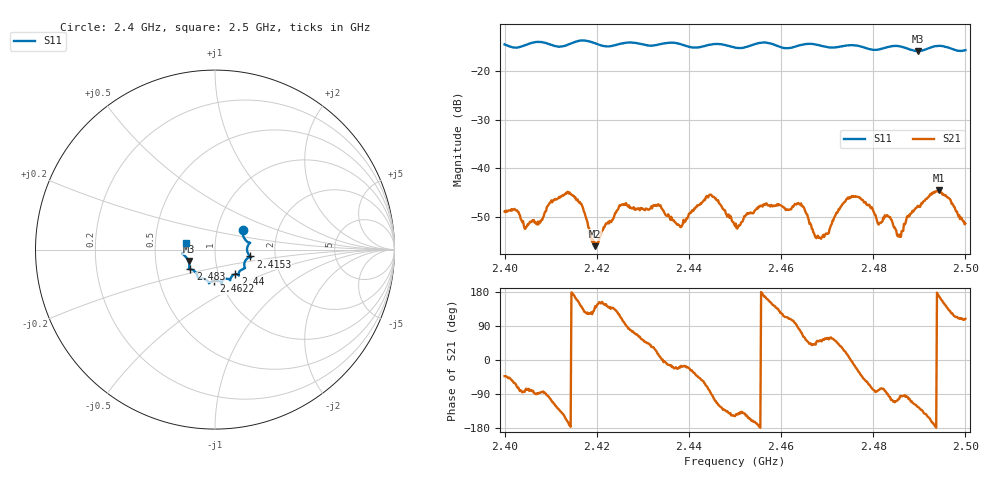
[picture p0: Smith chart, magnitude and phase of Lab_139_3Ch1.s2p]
# Hz S RI R 50
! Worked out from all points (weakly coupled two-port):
!   601 points, 2.4 GHz to 2.5 GHz, reference 50 ohm
!   highest |S21| = -44.61 dB at 2.4943 GHz (marker M1); lowest = -56.1 dB at 2.4197 GHz (marker M2)
!   lowest |S11| = -15.9 dB at 2.4897 GHz (marker M3), VSWR 1.38, Z = 36.9 - j4.81 ohm
!   |S11| at or under -10 dB: start of sweep to end of sweep
!   S12 and S22 are empty: the file has one direction only
!   S11 on the Smith chart (normalised r, x): 2.4 GHz: 1.33, +0.29; 2.4153 GHz: 1.48, -0.12; 2.44 GHz: 1.20, -0.34; 2.4622 GHz: 0.93, -0.33; 2.483 GHz: 0.74, -0.17; 2.5 GHz: 0.72, +0.06
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2.4e9  0.155 0.1065  0.00262 -0.00242  0 0  0 0
2.404667e9  0.1814 0.0427  0.000606 -0.00238  0 0  0 0
2.415333e9  0.1965 -0.0384  -0.00483 0.00136  0 0  0 0
2.416667e9  0.2021 -0.0423  -0.00334 0.00268  0 0  0 0
2.419667e9  0.1878 -0.0445  -0.00124 0.000964  0 0  0 0
2.425333e9  0.1655 -0.0976  -0.00144 0.00393  0 0  0 0
2.433333e9  0.1313 -0.1336  0.00408 0.00115  0 0  0 0
2.438e9  0.1288 -0.1403  0.00238 -0.000904  0 0  0 0
2.44e9  0.1139 -0.1368  0.00313 -0.00123  0 0  0 0
2.444833e9  0.0846 -0.1679  4.58e-05 -0.00531  0 0  0 0
2.45e9  0.0645 -0.1624  -0.00214 -0.00133  0 0  0 0
2.462167e9  -0.00733 -0.1737  -0.00109 0.0036  0 0  0 0
2.4645e9  -0.03 -0.1845  0.00133 0.00383  0 0  0 0
2.466667e9  -0.034 -0.1875  0.00184 0.0015  0 0  0 0
2.469833e9  -0.0463 -0.171  0.0012 0.00175  0 0  0 0
2.475833e9  -0.094 -0.1588  0.00492 -0.00117  0 0  0 0
2.483e9  -0.1378 -0.1097  2.19e-05 -0.00328  0 0  0 0
2.483333e9  -0.1402 -0.1096  -0.000248 -0.00313  0 0  0 0
2.485667e9  -0.146 -0.1059  -0.000405 -0.00192  0 0  0 0
2.489667e9  -0.1475 -0.0635  -0.00227 -0.00339  0 0  0 0
2.494333e9  -0.1807 -0.0219  -0.00573 0.00133  0 0  0 0
2.5e9  -0.1597 0.0393  -0.000858 0.00254  0 0  0 0
